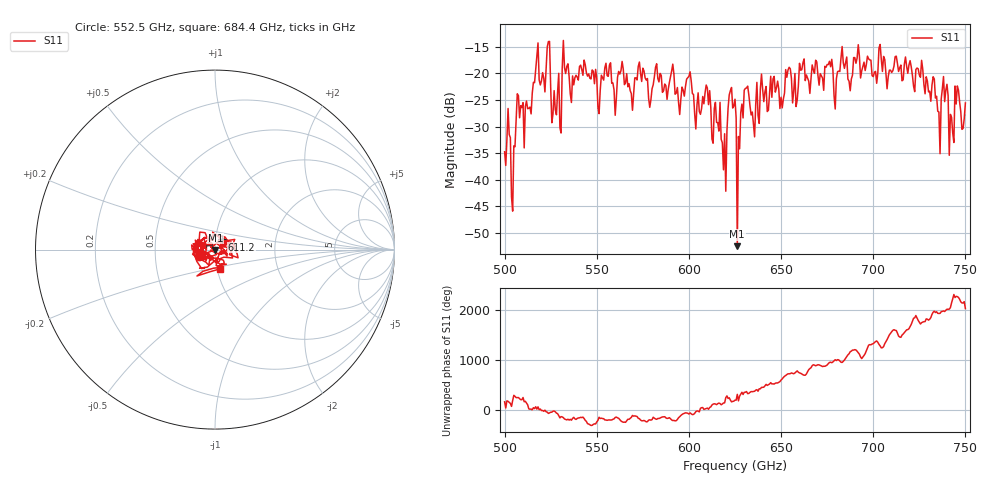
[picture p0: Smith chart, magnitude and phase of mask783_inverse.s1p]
!Created with skrf (http://scikit-rf.org).
# GHz S MA R 50.0
!freq magS11 angS11
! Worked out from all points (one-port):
!   401 points, 500 GHz to 750 GHz, reference 50 ohm
!   lowest |S11| = -52.5 dB at 626.2 GHz (marker M1), VSWR 1.00, Z = 50.2 - j0.161 ohm
!   |S11| at or under -10 dB: start of sweep to end of sweep
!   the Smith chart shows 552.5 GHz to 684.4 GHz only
!   S11 on the Smith chart (normalised r, x): 552.5 GHz: 0.83, -0.06; 611.2 GHz: 1.07, +0.12; 684.4 GHz: 1.03, -0.22
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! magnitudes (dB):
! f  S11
! 500 GHz  -34.7
! 504.4 GHz  -45.9
! 507.5 GHz  -24.2
! 511.9 GHz  -25.2
! 516.9 GHz  -19.2
! 523.8 GHz  -14.1
! 526.9 GHz  -23.3
! 531.2 GHz  -19.1
! 533.1 GHz  -20.1
! 552.5 GHz  -20.4
! 562.5 GHz  -20.2
! 593.8 GHz  -22.7
! 611.2 GHz  -23.3
! 618.8 GHz  -38.1
! 623.8 GHz  -26.5
! 625 GHz  -24.9
! 626.2 GHz  -52.5
! 631.2 GHz  -22.8
! 634.4 GHz  -27.3
! 656.2 GHz  -25.6
! 684.4 GHz  -19.1
! 687.5 GHz  -23.3
! 718.8 GHz  -20.0
! 735 GHz  -27.1
! 739.4 GHz  -23.2
! 742.5 GHz  -28.3
! 745.6 GHz  -22.4
! 750 GHz  -25.6
